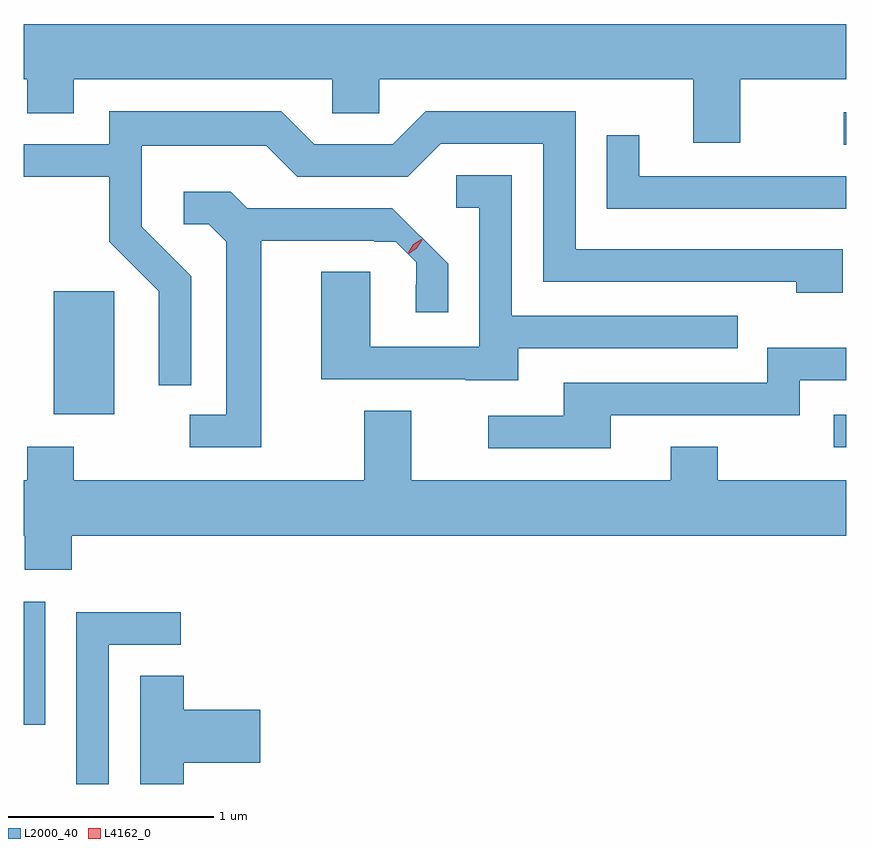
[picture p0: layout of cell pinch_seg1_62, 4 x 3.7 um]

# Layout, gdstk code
import gdstk
lib = gdstk.Library(unit=1e-6, precision=1e-09)
def R(c, l, rs):  # rectangles x0, y0, x1, y1
    for r in rs: c.add(gdstk.rectangle(r[:2], r[2:], *l))
def P(c, l, *ps):  # polygons
    for p in ps: c.add(gdstk.Polygon(p, *l))
L2000_40 = (2000, 40)
L4162_0 = (4162, 0)

pinch_seg1_62 = lib.new_cell('pinch_seg1_62')
R(pinch_seg1_62, L2000_40, [(1029.825,840.936,1029.929,841.534), (1033.763,842.286,1033.825,842.444), (1029.971,842.446,1030.264,843.044), (1033.813,843.756,1033.825,843.914)])
P(pinch_seg1_62, L2000_40, [(1033.309,844.076),(1033.825,844.076),(1033.825,844.344),(1029.825,844.344),(1029.825,844.076),(1029.841,844.076),(1029.841,843.911),(1030.069,843.911),(1030.069,844.076),(1031.326,844.076),(1031.326,843.911),(1031.554,843.911),(1031.554,844.076),(1033.081,844.076),(1033.081,843.766),(1033.309,843.766)],
  [(1030.639,843.117),(1030.399,843.357),(1030.399,843.751),(1031.004,843.751),(1031.154,843.601),(1031.692,843.601),(1031.852,843.761),(1032.351,843.761),(1032.351,843.091),(1033.581,843.091),(1033.581,843.036),(1033.809,843.036),(1033.809,843.249),(1032.509,843.249),(1032.509,843.919),(1031.779,843.919),(1031.619,843.759),(1031.237,843.759),(1031.077,843.919),(1030.241,843.919),(1030.241,843.759),(1029.825,843.759),(1029.825,843.601),(1030.241,843.601),(1030.241,843.284),(1030.481,843.044),(1030.481,842.588),(1030.639,842.588)],
  [(1033.825,843.604),(1032.819,843.604),(1032.819,843.803),(1032.661,843.803),(1032.661,843.446),(1033.825,843.446)],
  [(1032.229,842.766),(1033.298,842.766),(1033.298,842.924),(1032.199,842.924),(1032.199,843.609),(1031.928,843.609),(1031.928,843.451),(1032.041,843.451),(1032.041,842.774),(1031.509,842.774),(1031.509,843.139),(1031.271,843.139),(1031.271,842.616),(1031.975,842.616),(1031.975,842.611),(1032.229,842.611)],
  [(1030.979,843.291),(1031.53,843.291),(1031.53,843.285),(1031.635,843.285),(1031.734,843.186),(1031.734,843.076),(1031.731,843.076),(1031.731,842.943),(1031.889,842.943),(1031.889,843.178),(1031.618,843.449),(1030.911,843.449),(1030.832,843.529),(1030.603,843.529),(1030.603,843.371),(1030.724,843.371),(1030.811,843.284),(1030.811,842.444),(1030.632,842.444),(1030.632,842.286),(1030.979,842.286)],
  [(1032.679,842.441),(1033.599,842.441),(1033.599,842.611),(1033.825,842.611),(1033.825,842.769),(1033.441,842.769),(1033.441,842.599),(1032.451,842.599),(1032.451,842.439),(1032.083,842.439),(1032.083,842.281),(1032.679,842.281)],
  [(1030.059,841.856),(1033.825,841.856),(1033.825,842.124),(1033.199,842.124),(1033.199,842.289),(1032.971,842.289),(1032.971,842.124),(1031.709,842.124),(1031.709,842.464),(1031.481,842.464),(1031.481,842.124),(1030.069,842.124),(1030.069,842.289),(1029.841,842.289),(1029.841,842.124),(1029.825,842.124),(1029.825,841.856),(1029.831,841.856),(1029.831,841.691),(1030.059,841.691)],
  [(1030.239,841.326),(1030.588,841.326),(1030.588,841.484),(1030.081,841.484),(1030.081,840.648),(1030.239,840.648)],
  [(1030.604,840.751),(1030.974,840.751),(1030.974,841.009),(1030.604,841.009),(1030.604,841.174),(1030.391,841.174),(1030.391,840.648),(1030.604,840.648)])
P(pinch_seg1_62, L4162_0, [(1031.694,843.233),(1031.694,843.234),(1031.72,843.272),(1031.759,843.297),(1031.76,843.297),(1031.76,843.297),(1031.734,843.258),(1031.695,843.233)],
  [(1031.694,843.225),(1031.694,843.226),(1031.723,843.268),(1031.766,843.297),(1031.766,843.297),(1031.766,843.297),(1031.737,843.254),(1031.695,843.225)])

lib.write_gds('pinch_seg1_62.gds')
